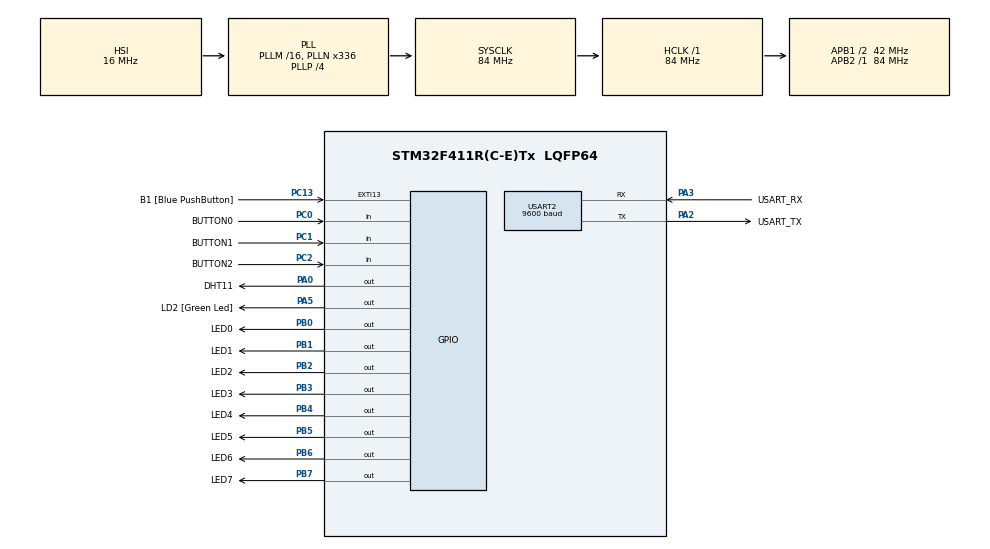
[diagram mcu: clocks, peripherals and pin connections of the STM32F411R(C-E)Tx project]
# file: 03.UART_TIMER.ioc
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FREERTOS.Tasks01=defaultTask,24,128,StartDefaultTask,Default,NULL,Dynamic,NULL,NULL;myTask01,8,128,StartTask01,Default,NULL,Dynamic,NULL,NULL;myTask02,8,128,StartTask02,Default,NULL,Dynamic,NULL,NULL;myTask03,8,128,StartTask03,Default,NULL,Dynamic,NULL,NULL;myTask04,8,128,StartTask04,Default,NULL,Dynamic,NULL,NULL
FREERTOS.configUSE_NEWLIB_REENTRANT=1
Mcu.Family=STM32F4
Mcu.Name=STM32F411R(C-E)Tx
Mcu.Package=LQFP64
NVIC.PriorityGroup=NVIC_PRIORITYGROUP_4
NVIC.TIM1_TRG_COM_TIM11_IRQn=true\:5\:0\:false\:false\:true\:true\:true\:true
NVIC.TIM1_UP_TIM10_IRQn=true\:5\:0\:false\:false\:true\:false\:false\:true
NVIC.TIM2_IRQn=true\:5\:0\:false\:false\:true\:true\:true\:true
NVIC.TimeBase=TIM1_UP_TIM10_IRQn
NVIC.TimeBaseIP=TIM10
NVIC.USART2_IRQn=true\:5\:0\:false\:false\:true\:true\:true\:true
PA0-WKUP.GPIO_Label=DHT11
PA0-WKUP.Signal=GPIO_Output
PA13.GPIO_Label=TMS
PA13.Mode=Serial_Wire
PA13.Signal=SYS_JTMS-SWDIO
PA14.GPIO_Label=TCK
PA14.Mode=Serial_Wire
PA14.Signal=SYS_JTCK-SWCLK
PA2.GPIO_Label=USART_TX
PA2.Mode=Asynchronous
PA2.Signal=USART2_TX
PA3.GPIO_Label=USART_RX
PA3.Mode=Asynchronous
PA3.Signal=USART2_RX
PA5.GPIO_Label=LD2 [Green Led]
PA5.Signal=GPIO_Output
PB0.GPIO_Label=LED0
PB0.Signal=GPIO_Output
PB1.GPIO_Label=LED1
PB1.Signal=GPIO_Output
PB2.GPIO_Label=LED2
PB2.Signal=GPIO_Output
PB3.GPIO_Label=LED3
PB3.Signal=GPIO_Output
PB4.GPIO_Label=LED4
PB4.Signal=GPIO_Output
PB5.GPIO_Label=LED5
PB5.Signal=GPIO_Output
PB6.GPIO_Label=LED6
PB6.Signal=GPIO_Output
PB7.GPIO_Label=LED7
PB7.Signal=GPIO_Output
PC0.GPIO_Label=BUTTON0
PC0.Signal=GPIO_Input
PC1.GPIO_Label=BUTTON1
PC1.Signal=GPIO_Input
PC13-ANTI_TAMP.GPIO_Label=B1 [Blue PushButton]
PC13-ANTI_TAMP.GPIO_ModeDefaultEXTI=GPIO_MODE_IT_FALLING
PC13-ANTI_TAMP.Signal=GPXTI13
PC14-OSC32_IN.Mode=LSE-External-Oscillator
PC14-OSC32_IN.Signal=RCC_OSC32_IN
PC15-OSC32_OUT.Mode=LSE-External-Oscillator
PC15-OSC32_OUT.Signal=RCC_OSC32_OUT
PC2.GPIO_Label=BUTTON2
PC2.Signal=GPIO_Input
PH0\ -\ OSC_IN.Mode=HSE-External-Clock-Source
PH0\ -\ OSC_IN.Signal=RCC_OSC_IN
PH1\ -\ OSC_OUT.Mode=HSE-External-Clock-Source
PH1\ -\ OSC_OUT.Signal=RCC_OSC_OUT
ProjectManager.HeapSize=0x200
ProjectManager.StackSize=0x400
ProjectManager.TargetToolchain=STM32CubeIDE
RCC.48MHZClocksFreq_Value=84000000
RCC.AHBFreq_Value=84000000
RCC.APB1CLKDivider=RCC_HCLK_DIV2
RCC.APB1Freq_Value=42000000
RCC.APB1TimFreq_Value=84000000
RCC.APB2Freq_Value=84000000
RCC.APB2TimFreq_Value=84000000
RCC.CortexFreq_Value=84000000
RCC.FLatency-AdvancedSettings=FLASH_LATENCY_2
RCC.HCLKFreq_Value=84000000
RCC.HSE_VALUE=8000000
RCC.HSI_VALUE=16000000
RCC.PLLN=336
RCC.PLLP=RCC_PLLP_DIV4
RCC.SYSCLKFreq_VALUE=84000000
RCC.SYSCLKSource=RCC_SYSCLKSOURCE_PLLCLK
RCC.VCOOutputFreq_Value=336000000
TIM11.Period=65535
TIM11.Prescaler=84-1
TIM2.Period=1000-1
TIM2.Prescaler=84-1
USART2.BaudRate=9600
USART2.VirtualMode=VM_ASYNC
VP_FREERTOS_VS_CMSIS_V2.Mode=CMSIS_V2
VP_SYS_VS_tim10.Mode=TIM10
VP_TIM11_VS_ClockSourceINT.Mode=Enable_Timer
VP_TIM2_VS_ClockSourceINT.Mode=Internal
board=NUCLEO-F411RE

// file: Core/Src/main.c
/* USER CODE BEGIN Header */
/**
  ******************************************************************************
  * @file           : main.c
  * @brief          : Main program body
  ******************************************************************************
  * @attention
  *
  * <h2><center>&copy; Copyright (c) 2024 STMicroelectronics.
  * All rights reserved.</center></h2>
  *
  * This software component is licensed by ST under BSD 3-Clause license,
  * the "License"; You may not use this file except in compliance with the
  * License. You may obtain a copy of the License at:
  *                        opensource.org/licenses/BSD-3-Clause
  *
  ******************************************************************************
  */
/* USER CODE END Header */
#include "main.h"
#include "cmsis_os.h"

TIM_HandleTypeDef htim2;
TIM_HandleTypeDef htim11;

UART_HandleTypeDef huart2;

/* Definitions for defaultTask */
osThreadId_t defaultTaskHandle;
const osThreadAttr_t defaultTask_attributes = {
  .name = "defaultTask",
  .stack_size = 128 * 4,
  .priority = (osPriority_t) osPriorityNormal,
};
/* Definitions for myTask01 */
osThreadId_t myTask01Handle;
const osThreadAttr_t myTask01_attributes = {
  .name = "myTask01",
  .stack_size = 128 * 4,
  .priority = (osPriority_t) osPriorityLow,
};
/* Definitions for myTask02 */
osThreadId_t myTask02Handle;
const osThreadAttr_t myTask02_attributes = {
  .name = "myTask02",
  .stack_size = 128 * 4,
  .priority = (osPriority_t) osPriorityLow,
};
/* Definitions for myTask03 */
osThreadId_t myTask03Handle;
const osThreadAttr_t myTask03_attributes = {
  .name = "myTask03",
  .stack_size = 128 * 4,
  .priority = (osPriority_t) osPriorityLow,
};
/* Definitions for myTask04 */
osThreadId_t myTask04Handle;
const osThreadAttr_t myTask04_attributes = {
  .name = "myTask04",
  .stack_size = 128 * 4,
  .priority = (osPriority_t) osPriorityLow,
};
/* USER CODE BEGIN PV */

uint8_t rxData;
volatile int TIM2_1ms_counter = 0;

/* USER CODE END PV */

void SystemClock_Config(void);
static void MX_GPIO_Init(void);
static void MX_USART2_UART_Init(void);
static void MX_TIM11_Init(void);
static void MX_TIM2_Init(void);
void StartDefaultTask(void *argument);
void StartTask01(void *argument);
void StartTask02(void *argument);
void StartTask03(void *argument);
void StartTask04(void *argument);

/* USER CODE BEGIN PFP */
extern void led_all_off(void);
extern void led_all_on(void);
extern void led2_toggle(void);
extern void led_on_down(void);
extern void led_on_up(void);
extern void led_keppon_up(void);
extern void led_keepon_down(void);
extern void flower_on(void);
extern void flower_off(void);
extern void ledbar0_toggle(void);
extern void led_main(void);
extern void button_check(void);
extern void pc_command_processing(void);
extern void delay_us(unsigned int us);
extern void DHT11_Init(void);

/* USER CODE END PFP */

/* USER CODE BEGIN 0 */
// -- call by Systick_Handler of "stm32f4xx_it.c"
// SysTick_Handler : ARM core default timer
// enter here every 1ms
volatile int t1ms_counter=0;
void HAL_SYSTICK_Handler(void){
	t1ms_counter++; // 1ms timer counter
}
// --------------- printf start -----------------
#ifdef __GNUC__    // Add for printf
/* With GCC, small printf (option LD Linker->Libraries->Small printf
   set to 'Yes') calls __io_putchar() */
#define PUTCHAR_PROTOTYPE int __io_putchar(int ch)
#else
#define PUTCHAR_PROTOTYPE int fputc(int ch, FILE *f)
#endif /* __GNUC__ */
/**
  * @brief  Retargets the C library printf function to the USART.
  * @param  None
  * @retval None
  */
PUTCHAR_PROTOTYPE   // Add for printf
{
  /* Place your implementation of fputc here */
  /* e.g. write a character to the USART3 and Loop until the end of transmission */
  HAL_UART_Transmit(&huart2, (uint8_t *)&ch, 1, 0xFFFF);

  return ch;
}
// --------------- printf end -----------------
/* USER CODE END 0 */

int main(void)
{
  /* USER CODE BEGIN 1 */
	int led_state = 0;
  /* USER CODE END 1 */

  /* MCU Configuration--------------------------------------------------------*/

  /* Reset of all peripherals, Initializes the Flash interface and the Systick. */
  HAL_Init();

  /* Configure the system clock */
  SystemClock_Config();

  /* Initialize all configured peripherals */
  MX_GPIO_Init();
  MX_USART2_UART_Init();
  MX_TIM11_Init();
  MX_TIM2_Init();
  /* USER CODE BEGIN 2 */
  HAL_UART_Receive_IT(&huart2, &rxData, 1); // assign RX INT
  // activate timer interrupt
  HAL_TIM_Base_Start_IT(&htim11);
  HAL_TIM_Base_Start_IT(&htim2);
  DHT11_Init();
  /* USER CODE END 2 */

  /* Init scheduler */
  osKernelInitialize();

  /* Create the thread(s) */
  /* creation of defaultTask */
  defaultTaskHandle = osThreadNew(StartDefaultTask, NULL, &defaultTask_attributes);

  /* creation of myTask01 */
  myTask01Handle = osThreadNew(StartTask01, NULL, &myTask01_attributes);

  /* creation of myTask02 */
  myTask02Handle = osThreadNew(StartTask02, NULL, &myTask02_attributes);

  /* creation of myTask03 */
  myTask03Handle = osThreadNew(StartTask03, NULL, &myTask03_attributes);

  /* creation of myTask04 */
  myTask04Handle = osThreadNew(StartTask04, NULL, &myTask04_attributes);

  /* Start scheduler */
  osKernelStart();

  /* We should never get here as control is now taken by the scheduler */
  /* Infinite loop */
  /* USER CODE BEGIN WHILE */
  while (1)
  {
//	  led_on_up();
//	  led_on_down();
//	  led_keppon_up();
	  //led_keepon_down();
//	  flower_on();
//	  flower_off();
	  /* use systick Timer */
#if 0
	 if(t1ms_counter >= 500){
		 t1ms_counter = 0;
		 switch(led_state){
			 case 0:
				 led_keppon_up();
				 break;
			 case 1:
				 led_keepon_down();
				 break;
			 case 2:
				 flower_on();
				 break;
			 case 3:
				 flower_off();
				 break;
		 }

		 led_state++;
		 led_state %= 4; // circulation
	 }
#endif
    /* USER CODE END WHILE */

    /* USER CODE BEGIN 3 */
	  // or enter here !!!!
  }
  /* USER CODE END 3 */
}

void SystemClock_Config(void)
{
  RCC_OscInitTypeDef RCC_OscInitStruct = {0};
  RCC_ClkInitTypeDef RCC_ClkInitStruct = {0};

  /** Configure the main internal regulator output voltage
  */
  __HAL_RCC_PWR_CLK_ENABLE();
  __HAL_PWR_VOLTAGESCALING_CONFIG(PWR_REGULATOR_VOLTAGE_SCALE1);
  /** Initializes the RCC Oscillators according to the specified parameters
  * in the RCC_OscInitTypeDef structure.
  */
  RCC_OscInitStruct.OscillatorType = RCC_OSCILLATORTYPE_HSI;
  RCC_OscInitStruct.HSIState = RCC_HSI_ON;
  RCC_OscInitStruct.HSICalibrationValue = RCC_HSICALIBRATION_DEFAULT;
  RCC_OscInitStruct.PLL.PLLState = RCC_PLL_ON;
  RCC_OscInitStruct.PLL.PLLSource = RCC_PLLSOURCE_HSI;
  RCC_OscInitStruct.PLL.PLLM = 16;
  RCC_OscInitStruct.PLL.PLLN = 336;
  RCC_OscInitStruct.PLL.PLLP = RCC_PLLP_DIV4;
  RCC_OscInitStruct.PLL.PLLQ = 4;
  if (HAL_RCC_OscConfig(&RCC_OscInitStruct) != HAL_OK)
  {
    Error_Handler();
  }
  /** Initializes the CPU, AHB and APB buses clocks
  */
  RCC_ClkInitStruct.ClockType = RCC_CLOCKTYPE_HCLK|RCC_CLOCKTYPE_SYSCLK
                              |RCC_CLOCKTYPE_PCLK1|RCC_CLOCKTYPE_PCLK2;
  RCC_ClkInitStruct.SYSCLKSource = RCC_SYSCLKSOURCE_PLLCLK;
  RCC_ClkInitStruct.AHBCLKDivider = RCC_SYSCLK_DIV1;
  RCC_ClkInitStruct.APB1CLKDivider = RCC_HCLK_DIV2;
  RCC_ClkInitStruct.APB2CLKDivider = RCC_HCLK_DIV1;

  if (HAL_RCC_ClockConfig(&RCC_ClkInitStruct, FLASH_LATENCY_2) != HAL_OK)
  {
    Error_Handler();
  }
}

static void MX_TIM2_Init(void)
{

  TIM_ClockConfigTypeDef sClockSourceConfig = {0};
  TIM_MasterConfigTypeDef sMasterConfig = {0};

  htim2.Instance = TIM2;
  htim2.Init.Prescaler = 84-1;
  htim2.Init.CounterMode = TIM_COUNTERMODE_UP;
  htim2.Init.Period = 1000-1;
  htim2.Init.ClockDivision = TIM_CLOCKDIVISION_DIV1;
  htim2.Init.AutoReloadPreload = TIM_AUTORELOAD_PRELOAD_DISABLE;
  if (HAL_TIM_Base_Init(&htim2) != HAL_OK)
  {
    Error_Handler();
  }
  sClockSourceConfig.ClockSource = TIM_CLOCKSOURCE_INTERNAL;
  if (HAL_TIM_ConfigClockSource(&htim2, &sClockSourceConfig) != HAL_OK)
  {
    Error_Handler();
  }
  sMasterConfig.MasterOutputTrigger = TIM_TRGO_RESET;
  sMasterConfig.MasterSlaveMode = TIM_MASTERSLAVEMODE_DISABLE;
  if (HAL_TIMEx_MasterConfigSynchronization(&htim2, &sMasterConfig) != HAL_OK)
  {
    Error_Handler();
  }

}

static void MX_TIM11_Init(void)
{

  htim11.Instance = TIM11;
  htim11.Init.Prescaler = 84-1;
  htim11.Init.CounterMode = TIM_COUNTERMODE_UP;
  htim11.Init.Period = 65535;
  htim11.Init.ClockDivision = TIM_CLOCKDIVISION_DIV1;
  htim11.Init.AutoReloadPreload = TIM_AUTORELOAD_PRELOAD_DISABLE;
  if (HAL_TIM_Base_Init(&htim11) != HAL_OK)
  {
    Error_Handler();
  }

}

static void MX_USART2_UART_Init(void)
{

  huart2.Instance = USART2;
  huart2.Init.BaudRate = 9600;
  huart2.Init.WordLength = UART_WORDLENGTH_8B;
  huart2.Init.StopBits = UART_STOPBITS_1;
  huart2.Init.Parity = UART_PARITY_NONE;
  huart2.Init.Mode = UART_MODE_TX_RX;
  huart2.Init.HwFlowCtl = UART_HWCONTROL_NONE;
  huart2.Init.OverSampling = UART_OVERSAMPLING_16;
  if (HAL_UART_Init(&huart2) != HAL_OK)
  {
    Error_Handler();
  }

}

static void MX_GPIO_Init(void)
{
  GPIO_InitTypeDef GPIO_InitStruct = {0};

  /* GPIO Ports Clock Enable */
  __HAL_RCC_GPIOC_CLK_ENABLE();
  __HAL_RCC_GPIOH_CLK_ENABLE();
  __HAL_RCC_GPIOA_CLK_ENABLE();
  __HAL_RCC_GPIOB_CLK_ENABLE();

  /*Configure GPIO pin Output Level */
  HAL_GPIO_WritePin(GPIOA, DHT11_Pin|LD2_Pin, GPIO_PIN_RESET);

  /*Configure GPIO pin Output Level */
  HAL_GPIO_WritePin(GPIOB, LED0_Pin|LED1_Pin|LED2_Pin|LED3_Pin
                          |LED4_Pin|LED5_Pin|LED6_Pin|LED7_Pin, GPIO_PIN_RESET);

  /*Configure GPIO pin : B1_Pin */
  GPIO_InitStruct.Pin = B1_Pin;
  GPIO_InitStruct.Mode = GPIO_MODE_IT_FALLING;
  GPIO_InitStruct.Pull = GPIO_NOPULL;
  HAL_GPIO_Init(B1_GPIO_Port, &GPIO_InitStruct);

  /*Configure GPIO pins : BUTTON0_Pin BUTTON1_Pin BUTTON2_Pin */
  GPIO_InitStruct.Pin = BUTTON0_Pin|BUTTON1_Pin|BUTTON2_Pin;
  GPIO_InitStruct.Mode = GPIO_MODE_INPUT;
  GPIO_InitStruct.Pull = GPIO_NOPULL;
  HAL_GPIO_Init(GPIOC, &GPIO_InitStruct);

  /*Configure GPIO pins : DHT11_Pin LD2_Pin */
  GPIO_InitStruct.Pin = DHT11_Pin|LD2_Pin;
  GPIO_InitStruct.Mode = GPIO_MODE_OUTPUT_PP;
  GPIO_InitStruct.Pull = GPIO_NOPULL;
  GPIO_InitStruct.Speed = GPIO_SPEED_FREQ_LOW;
  HAL_GPIO_Init(GPIOA, &GPIO_InitStruct);

  /*Configure GPIO pins : LED0_Pin LED1_Pin LED2_Pin LED3_Pin
                           LED4_Pin LED5_Pin LED6_Pin LED7_Pin */
  GPIO_InitStruct.Pin = LED0_Pin|LED1_Pin|LED2_Pin|LED3_Pin
                          |LED4_Pin|LED5_Pin|LED6_Pin|LED7_Pin;
  GPIO_InitStruct.Mode = GPIO_MODE_OUTPUT_PP;
  GPIO_InitStruct.Pull = GPIO_NOPULL;
  GPIO_InitStruct.Speed = GPIO_SPEED_FREQ_LOW;
  HAL_GPIO_Init(GPIOB, &GPIO_InitStruct);

}

void StartDefaultTask(void *argument)
{
  /* USER CODE BEGIN 5 */
  /* Infinite loop */
  for(;;)
  {
	  //pc_command_processing();
	  //button_check();
    osDelay(1);
  }
  /* USER CODE END 5 */
}

void StartTask01(void *argument)
{
  /* USER CODE BEGIN StartTask01 */
  /* Infinite loop */
  for(;;)
  {
	if(TIM2_1ms_counter >= 50){
		// toggle led every 50ms
		TIM2_1ms_counter = 0; // clear;
		led2_toggle();
	}
	// led2_toggle();
    osDelay(1); // The OS does not go to sleep.
  }
  /* USER CODE END StartTask01 */
}

void StartTask02(void *argument)
{
  /* USER CODE BEGIN StartTask02 */
  /* Infinite loop */
  for(;;)
  {
	  DHT11_processing();
	  osDelay(1500); // 1500ms
	/*
	  led_all_on();
	  delay_us(1000); // 1ms
	  led_all_off();
	  delay_us(1000); // 1ms
    	osDelay(1);
    */
  }
  /* USER CODE END StartTask02 */
}

void StartTask03(void *argument)
{
  /* USER CODE BEGIN StartTask03 */
  /* Infinite loop */
  for(;;)
  {
	 // pc_command_processing();
    osDelay(1);
  }
  /* USER CODE END StartTask03 */
}

void StartTask04(void *argument)
{
  /* USER CODE BEGIN StartTask04 */
  /* Infinite loop */
  for(;;)
  {
	//HAL_GPIO_TogglePin(GPIOB, GPIO_PIN_2);
	osDelay(1);
  }
  /* USER CODE END StartTask04 */
}

void HAL_TIM_PeriodElapsedCallback(TIM_HandleTypeDef *htim)
{
  /* USER CODE BEGIN Callback 0 */
////////
  /* USER CODE END Callback 0 */
  if (htim->Instance == TIM10) {
    HAL_IncTick();
  }
  /* USER CODE BEGIN Callback 1 */
////////
	if(htim->Instance == TIM2){
		TIM2_1ms_counter++;
	}
  /* USER CODE END Callback 1 */
}

void Error_Handler(void)
{
  __disable_irq();
  while (1)
  {
  }
}

/************************ (C) COPYRIGHT STMicroelectronics *****END OF FILE****/
